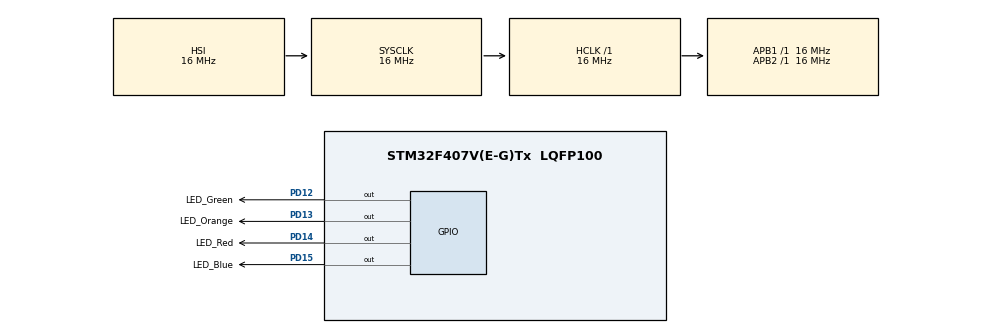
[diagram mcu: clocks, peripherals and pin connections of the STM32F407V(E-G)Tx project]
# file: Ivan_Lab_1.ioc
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Mcu.Family=STM32F4
Mcu.Name=STM32F407V(E-G)Tx
Mcu.Package=LQFP100
NVIC.PriorityGroup=NVIC_PRIORITYGROUP_4
PD12.GPIO_Label=LED_Green
PD12.Signal=GPIO_Output
PD13.GPIO_Label=LED_Orange
PD13.Signal=GPIO_Output
PD14.GPIO_Label=LED_Red
PD14.Signal=GPIO_Output
PD15.GPIO_Label=LED_Blue
PD15.Signal=GPIO_Output
ProjectManager.HeapSize=0x200
ProjectManager.StackSize=0x400
ProjectManager.TargetToolchain=MDK-ARM V5.32
RCC.AHBFreq_Value=16000000
RCC.APB1Freq_Value=16000000
RCC.APB2Freq_Value=16000000
RCC.CortexFreq_Value=16000000
RCC.HSE_VALUE=25000000
RCC.HSI_VALUE=16000000
RCC.LSE_VALUE=32768
RCC.SYSCLKFreq_VALUE=16000000
RCC.VCOOutputFreq_Value=192000000
board=custom

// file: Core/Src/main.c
/* USER CODE BEGIN Header */
/**
  ******************************************************************************
  * @file           : main.c
  * @brief          : Main program body
  ******************************************************************************
  * @attention
  *
  * Copyright (c) 2024 STMicroelectronics.
  * All rights reserved.
  *
  * This software is licensed under terms that can be found in the LICENSE file
  * in the root directory of this software component.
  * If no LICENSE file comes with this software, it is provided AS-IS.
  *
  ******************************************************************************
  */
/* USER CODE END Header */
#include "main.h"
#include "gpio.h"

/* USER CODE BEGIN PD */
	#define MINUT_TIMEOUT 1000 * 60
	#define SECOND_TIMEOUT 1000
	#define MSECOND_TIMEOUT 1
	#define STEP_TIMEOUT 100
/* USER CODE END PD */

/* USER CODE BEGIN PV */
uint32_t timeout = 0;
uint32_t step_timeout = 0;
/* USER CODE END PV */

void SystemClock_Config(void);

int main(void)
{

  /* MCU Configuration--------------------------------------------------------*/

  /* Reset of all peripherals, Initializes the Flash interface and the Systick. */
  HAL_Init();

  /* Configure the system clock */
  SystemClock_Config();

  /* Initialize all configured peripherals */
  MX_GPIO_Init();
  /* USER CODE BEGIN 2 */

//	  HAL_GPIO_WritePin(LED_Blue_GPIO_Port, LED_Blue_Pin, GPIO_PIN_SET);
//		HAL_GPIO_WritePin(LED_Red_GPIO_Port, LED_Red_Pin, GPIO_PIN_SET);

  /* USER CODE END 2 */

  /* Infinite loop */
  /* USER CODE BEGIN WHILE */
  while (1)
  {
		/*HW_Osnovnoi variant*/
		HAL_Delay(SECOND_TIMEOUT);
		HAL_GPIO_WritePin(LED_Orange_GPIO_Port, LED_Orange_Pin, GPIO_PIN_SET);
		HAL_GPIO_WritePin(LED_Blue_GPIO_Port, LED_Blue_Pin, GPIO_PIN_RESET);
		HAL_Delay(SECOND_TIMEOUT);
		HAL_GPIO_WritePin(LED_Green_GPIO_Port, LED_Green_Pin, GPIO_PIN_SET);
		HAL_GPIO_WritePin(LED_Red_GPIO_Port, LED_Red_Pin, GPIO_PIN_RESET);
		HAL_Delay(SECOND_TIMEOUT);
		HAL_GPIO_WritePin(LED_Blue_GPIO_Port, LED_Blue_Pin, GPIO_PIN_SET);
		HAL_GPIO_WritePin(LED_Orange_GPIO_Port, LED_Orange_Pin, GPIO_PIN_RESET);
		HAL_Delay(SECOND_TIMEOUT);
		HAL_GPIO_WritePin(LED_Red_GPIO_Port, LED_Red_Pin, GPIO_PIN_SET);
		HAL_GPIO_WritePin(LED_Green_GPIO_Port, LED_Green_Pin, GPIO_PIN_RESET);

		/*HW_Variant_2*/
//		HAL_Delay(SECOND_TIMEOUT);
//		HAL_GPIO_TogglePin (LED_Orange_GPIO_Port, LED_Orange_Pin);
//		HAL_Delay(SECOND_TIMEOUT);
//		HAL_GPIO_TogglePin (LED_Green_GPIO_Port, LED_Green_Pin);
//		HAL_Delay(SECOND_TIMEOUT);
//		HAL_GPIO_TogglePin (LED_Blue_GPIO_Port, LED_Blue_Pin);
//		HAL_Delay(SECOND_TIMEOUT);
//		HAL_GPIO_TogglePin (LED_Red_GPIO_Port, LED_Red_Pin);

		/*HW_Variant_3*/
//		HAL_Delay(SECOND_TIMEOUT);
//		HAL_GPIO_WritePin(LED_Orange_GPIO_Port, LED_Orange_Pin, GPIO_PIN_SET);
//		HAL_GPIO_WritePin(LED_Red_GPIO_Port, LED_Red_Pin, GPIO_PIN_RESET);
//		HAL_Delay(SECOND_TIMEOUT);
//		HAL_GPIO_WritePin(LED_Green_GPIO_Port, LED_Green_Pin, GPIO_PIN_SET);
//		HAL_GPIO_WritePin(LED_Orange_GPIO_Port, LED_Orange_Pin, GPIO_PIN_RESET);
//		HAL_Delay(SECOND_TIMEOUT);
//		HAL_GPIO_WritePin(LED_Blue_GPIO_Port, LED_Blue_Pin, GPIO_PIN_SET);
//		HAL_GPIO_WritePin(LED_Green_GPIO_Port, LED_Green_Pin, GPIO_PIN_RESET);
//		HAL_Delay(SECOND_TIMEOUT);
//		HAL_GPIO_WritePin(LED_Red_GPIO_Port, LED_Red_Pin, GPIO_PIN_SET);
//		HAL_GPIO_WritePin(LED_Blue_GPIO_Port, LED_Blue_Pin, GPIO_PIN_RESET);

		/*Para*/
//			if (timeout <= SECOND_TIMEOUT)
//			{
//					timeout += step_timeout;
//			}
//			else
//			{
//					timeout = 0;
//			}
//			HAL_Delay(timeout);
//			HAL_GPIO_TogglePin (LED_Green_GPIO_Port, LED_Green_Pin);

    /* USER CODE END WHILE */

  }
}

void SystemClock_Config(void)
{
  RCC_OscInitTypeDef RCC_OscInitStruct = {0};
  RCC_ClkInitTypeDef RCC_ClkInitStruct = {0};

  /** Configure the main internal regulator output voltage
  */
  __HAL_RCC_PWR_CLK_ENABLE();
  __HAL_PWR_VOLTAGESCALING_CONFIG(PWR_REGULATOR_VOLTAGE_SCALE1);

  /** Initializes the RCC Oscillators according to the specified parameters
  * in the RCC_OscInitTypeDef structure.
  */
  RCC_OscInitStruct.OscillatorType = RCC_OSCILLATORTYPE_HSI;
  RCC_OscInitStruct.HSIState = RCC_HSI_ON;
  RCC_OscInitStruct.HSICalibrationValue = RCC_HSICALIBRATION_DEFAULT;
  RCC_OscInitStruct.PLL.PLLState = RCC_PLL_NONE;
  if (HAL_RCC_OscConfig(&RCC_OscInitStruct) != HAL_OK)
  {
    Error_Handler();
  }

  /** Initializes the CPU, AHB and APB buses clocks
  */
  RCC_ClkInitStruct.ClockType = RCC_CLOCKTYPE_HCLK|RCC_CLOCKTYPE_SYSCLK
                              |RCC_CLOCKTYPE_PCLK1|RCC_CLOCKTYPE_PCLK2;
  RCC_ClkInitStruct.SYSCLKSource = RCC_SYSCLKSOURCE_HSI;
  RCC_ClkInitStruct.AHBCLKDivider = RCC_SYSCLK_DIV1;
  RCC_ClkInitStruct.APB1CLKDivider = RCC_HCLK_DIV1;
  RCC_ClkInitStruct.APB2CLKDivider = RCC_HCLK_DIV1;

  if (HAL_RCC_ClockConfig(&RCC_ClkInitStruct, FLASH_LATENCY_0) != HAL_OK)
  {
    Error_Handler();
  }
}

void Error_Handler(void)
{
  __disable_irq();
  while (1)
  {
  }
}
